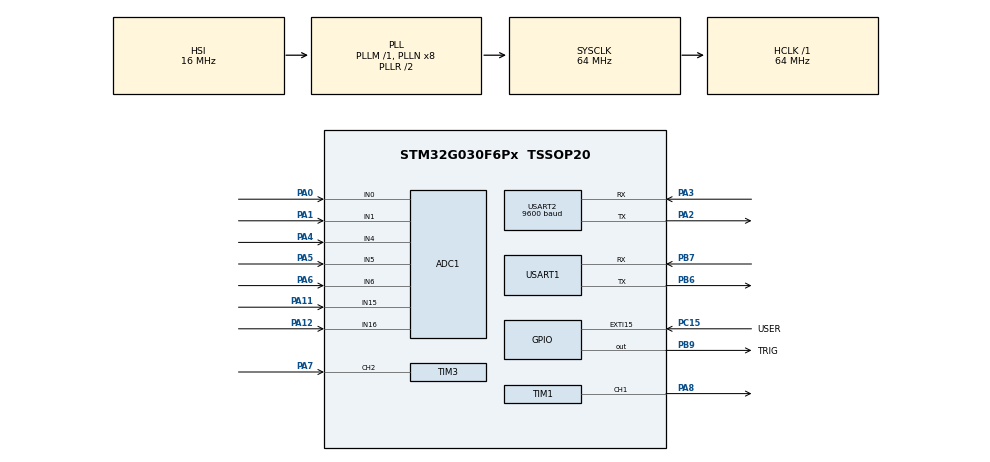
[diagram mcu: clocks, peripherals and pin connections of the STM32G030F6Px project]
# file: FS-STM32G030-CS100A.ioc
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ADC1.ClockPrescaler=ADC_CLOCK_ASYNC_DIV4
ADC1.ContinuousConvMode=ENABLE
ADC1.DMAContinuousRequests=ENABLE
ADC1.DiscontinuousConvMode=DISABLE
ADC1.LowPowerAutoPowerOff=ENABLE
ADC1.NbrOfConversion=1
ADC1.NbrOfConversionFlag=0
ADC1.SamplingTimeCommon1=ADC_SAMPLETIME_39CYCLES_5
ADC1.SelectedChannel=ADC_CHANNEL_0|ADC_CHANNEL_1|ADC_CHANNEL_4|ADC_CHANNEL_5|ADC_CHANNEL_6|ADC_CHANNEL_15|ADC_CHANNEL_16
ADC1.Sequencer=NOT_FULLY_CONFIGURABLE
ADC1.master=1
Dma.ADC1.0.Direction=DMA_PERIPH_TO_MEMORY
Dma.ADC1.0.EventEnable=DISABLE
Dma.ADC1.0.Instance=DMA1_Channel1
Dma.ADC1.0.MemDataAlignment=DMA_MDATAALIGN_HALFWORD
Dma.ADC1.0.MemInc=DMA_MINC_ENABLE
Dma.ADC1.0.Mode=DMA_CIRCULAR
Dma.ADC1.0.PeriphDataAlignment=DMA_PDATAALIGN_HALFWORD
Dma.ADC1.0.PeriphInc=DMA_PINC_DISABLE
Dma.ADC1.0.Polarity=HAL_DMAMUX_REQ_GEN_RISING
Dma.ADC1.0.Priority=DMA_PRIORITY_HIGH
Dma.ADC1.0.RequestNumber=1
Dma.ADC1.0.SignalID=NONE
Dma.ADC1.0.SyncEnable=DISABLE
Dma.ADC1.0.SyncPolarity=HAL_DMAMUX_SYNC_NO_EVENT
Dma.ADC1.0.SyncRequestNumber=1
Dma.ADC1.0.SyncSignalID=NONE
Dma.Request0=ADC1
Dma.Request1=TIM1_CH1
Dma.TIM1_CH1.1.Direction=DMA_MEMORY_TO_PERIPH
Dma.TIM1_CH1.1.EventEnable=DISABLE
Dma.TIM1_CH1.1.Instance=DMA1_Channel2
Dma.TIM1_CH1.1.MemDataAlignment=DMA_MDATAALIGN_WORD
Dma.TIM1_CH1.1.MemInc=DMA_MINC_ENABLE
Dma.TIM1_CH1.1.Mode=DMA_NORMAL
Dma.TIM1_CH1.1.PeriphDataAlignment=DMA_PDATAALIGN_WORD
Dma.TIM1_CH1.1.PeriphInc=DMA_PINC_DISABLE
Dma.TIM1_CH1.1.Polarity=HAL_DMAMUX_REQ_GEN_RISING
Dma.TIM1_CH1.1.Priority=DMA_PRIORITY_VERY_HIGH
Dma.TIM1_CH1.1.RequestNumber=1
Dma.TIM1_CH1.1.SignalID=NONE
Dma.TIM1_CH1.1.SyncEnable=DISABLE
Dma.TIM1_CH1.1.SyncPolarity=HAL_DMAMUX_SYNC_NO_EVENT
Dma.TIM1_CH1.1.SyncRequestNumber=1
Dma.TIM1_CH1.1.SyncSignalID=NONE
Mcu.Family=STM32G0
Mcu.Name=STM32G030F6Px
Mcu.Package=TSSOP20
NVIC.DMA1_Channel1_IRQn=true\:1\:0\:true\:false\:true\:false\:true\:true
NVIC.DMA1_Channel2_3_IRQn=true\:0\:0\:false\:false\:true\:false\:true\:true
NVIC.EXTI4_15_IRQn=true\:3\:0\:true\:false\:true\:true\:true\:true
NVIC.TIM16_IRQn=true\:3\:0\:true\:false\:true\:true\:true\:true
NVIC.TIM3_IRQn=true\:0\:0\:false\:false\:true\:true\:true\:true
NVIC.USART1_IRQn=true\:2\:0\:true\:false\:true\:true\:true\:true
NVIC.USART2_IRQn=true\:2\:0\:true\:false\:true\:true\:true\:true
PA0.Mode=IN0
PA0.Signal=ADC1_IN0
PA1.Mode=IN1
PA1.Signal=ADC1_IN1
PA11\ [PA9].Mode=IN15
PA11\ [PA9].Signal=ADC1_IN15
PA12\ [PA10].Mode=IN16
PA12\ [PA10].Signal=ADC1_IN16
PA13.Mode=Serial_Wire
PA13.Signal=SYS_SWDIO
PA14-BOOT0.Mode=Serial_Wire
PA14-BOOT0.Signal=SYS_SWCLK
PA14-BOOT0__PA15.StandardMode=true
PA2.Mode=Asynchronous
PA2.Signal=USART2_TX
PA3.Mode=Asynchronous
PA3.Signal=USART2_RX
PA4.Mode=IN4
PA4.Signal=ADC1_IN4
PA5.Mode=IN5
PA5.Signal=ADC1_IN5
PA6.Mode=IN6
PA6.Signal=ADC1_IN6
PA7.GPIO_PuPd=GPIO_PULLUP
PA7.GPIO_Speed=GPIO_SPEED_FREQ_VERY_HIGH
PA7.Signal=S_TIM3_CH2
PA8.GPIO_ModeDefaultPP=GPIO_MODE_AF_PP
PA8.GPIO_PuPd=GPIO_NOPULL
PA8.GPIO_Speed=GPIO_SPEED_FREQ_LOW
PA8.Signal=S_TIM1_CH1
PB0__PB1__PB2__PA8.StandardMode=true
PB3__PB4__PB5__PB6.StandardMode=true
PB6.Mode=Asynchronous
PB6.Signal=USART1_TX
PB7.Mode=Asynchronous
PB7.Signal=USART1_RX
PB7__PB8.StandardMode=true
PB9.GPIO_FM9=SYSCFG_FASTMODEPLUS_PB9
PB9.GPIO_Label=TRIG
PB9.GPIO_Speed=GPIO_SPEED_FREQ_HIGH
PB9.Signal=GPIO_Output
PC14-OSC32_IN\ (PC14)__PB9.StandardMode=true
PC15-OSC32_OUT\ (PC15).GPIO_Label=USER
PC15-OSC32_OUT\ (PC15).GPIO_ModeDefaultEXTI=GPIO_MODE_IT_FALLING
PC15-OSC32_OUT\ (PC15).GPIO_PuPd=GPIO_PULLUP
PC15-OSC32_OUT\ (PC15).Signal=GPXTI15
ProjectManager.HeapSize=0x200
ProjectManager.StackSize=0x400
ProjectManager.TargetToolchain=MDK-ARM V5.32
RCC.ADCFreq_Value=64000000
RCC.AHBFreq_Value=64000000
RCC.CortexFreq_Value=64000000
RCC.EXTERNAL_CLOCK_VALUE=12288000
RCC.HCLKFreq_Value=64000000
RCC.HSE_VALUE=8000000
RCC.HSI_VALUE=16000000
RCC.LSE_VALUE=32768
RCC.SYSCLKFreq_VALUE=64000000
RCC.SYSCLKSource=RCC_SYSCLKSOURCE_PLLCLK
RCC.VCOOutputFreq_Value=128000000
SH.S_TIM1_CH1.0=TIM1_CH1,PWM Generation1 CH1
SH.S_TIM3_CH2.0=TIM3_CH2,Input_Capture2_from_TI2
TIM1.AutoReloadPreload=TIM_AUTORELOAD_PRELOAD_ENABLE
TIM1.Channel-PWM\ Generation1\ CH1=TIM_CHANNEL_1
TIM1.OCFastMode_PWM-PWM\ Generation1\ CH1=TIM_OCFAST_DISABLE
TIM1.OCMode_PWM-PWM\ Generation1\ CH1=TIM_OCMODE_PWM1
TIM1.OCPolarity_1=TIM_OCPOLARITY_HIGH
TIM1.Period=80-1
TIM16.AutoReloadPreload=TIM_AUTORELOAD_PRELOAD_ENABLE
TIM16.Period=5000-1
TIM16.Prescaler=64-1
TIM3.AutoReloadPreload=TIM_AUTORELOAD_PRELOAD_ENABLE
TIM3.Channel-Input_Capture2_from_TI2=TIM_CHANNEL_2
TIM3.Prescaler=64-1
USART1.VirtualMode-Asynchronous=VM_ASYNC
USART2.BaudRate=9600
USART2.VirtualMode-Asynchronous=VM_ASYNC
VP_TIM16_VS_ClockSourceINT.Mode=Enable_Timer
VP_TIM1_VS_ClockSourceINT.Mode=Internal
VP_TIM3_VS_ClockSourceINT.Mode=Internal
board=custom

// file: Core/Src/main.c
/* USER CODE BEGIN Header */
/**
  ******************************************************************************
  * @file           : main.c
  * @brief          : Main program body
  ******************************************************************************
  * @attention
  *
  * Copyright (c) 2024 STMicroelectronics.
  * All rights reserved.
  *
  * This software is licensed under terms that can be found in the LICENSE file
  * in the root directory of this software component.
  * If no LICENSE file comes with this software, it is provided AS-IS.
  *
  ******************************************************************************
  */
/* USER CODE END Header */
#include "main.h"
#include "adc.h"
#include "dma.h"
#include "tim.h"
#include "usart.h"
#include "gpio.h"

/* USER CODE BEGIN Includes */
#include "user_app.h"		//用户应用程序

/* USER CODE END Includes */

/* USER CODE BEGIN PTD */
#define	ADC_CONVERTED_DATA_BUFFER_SIZE	7	//ADC通道总的数据长度

/* USER CODE END PTD */

/* USER CODE BEGIN PD */
/*********************************printf重定向*********************************/
//仅用于调试输出，连接语音时，禁用调试口
int fputc(int ch, FILE *f)
{
	uint8_t temp[1] = {ch};
	HAL_UART_Transmit(&huart1, temp, 1, 2);
	return ch;
}

/* USER CODE END PD */

/* USER CODE BEGIN PV */
static uint8_t gTaskIndex = 0x00;  //系统任务索引变量
volatile uint8_t gUserButtonCnt = 0;	//按键切换模式 (0:遥控, 1:避障, 2:巡线, 3:规划)
extern gTask_BitDef gTaskStateBit;  //任务执行过程中使用到的标志位
extern ADC_ValTypeDef gStruADC; //A/D通道实时采集的数据
extern TIM_ValTypeDef gStruTIM3; //超声波测距
/* USER CODE END PV */

void SystemClock_Config(void);

int main(void)
{

  /* MCU Configuration--------------------------------------------------------*/

  /* Reset of all peripherals, Initializes the Flash interface and the Systick. */
  HAL_Init();

  /* Configure the system clock */
  SystemClock_Config();

  /* Initialize all configured peripherals */
  MX_GPIO_Init();
  MX_DMA_Init();
  MX_ADC1_Init();
  MX_TIM16_Init();
  MX_USART1_UART_Init();
  MX_TIM1_Init();
  MX_TIM3_Init();
  MX_USART2_UART_Init();
  /* USER CODE BEGIN 2 */
	for(gTaskIndex = 0;gTaskIndex < OS_TASKLISTCNT;gTaskIndex++)	g_OSTaskList[gTaskIndex]=NULL;   //清空任务列表
	//进行ADC校准
	if (HAL_ADCEx_Calibration_Start(&hadc1)!= HAL_OK)	{Error_Handler();}

  // 开启串口2接收
  extern uint8_t gUART2RxData;
  __HAL_UART_CLEAR_FLAG(&huart2, UART_CLEAR_OREF);
  HAL_UART_Receive_IT(&huart2, &gUART2RxData, 1);
  /* USER CODE END 2 */

  /* Infinite loop */
  /* USER CODE BEGIN WHILE */
	HAL_TIM_Base_Start_IT(&htim16);//开启定时器16开启,设备控制任务开始
	//启动ADC组与DMA的常规转换
	if (HAL_ADC_Start_DMA(&hadc1,(uint32_t *)&gStruADC,ADC_CONVERTED_DATA_BUFFER_SIZE) != HAL_OK)	{Error_Handler();}
  while (1)
  {
    /* USER CODE END WHILE */

    /* USER CODE BEGIN 3 */
		for(gTaskIndex = 0;gTaskIndex < OS_TASKLISTCNT;gTaskIndex++)
		{
			if(g_OSTaskList[gTaskIndex] != NULL)
			{
				g_OSTaskList[gTaskIndex]();
				g_OSTaskList[gTaskIndex] = NULL;
			}
		}
  }
  /* USER CODE END 3 */
}

void SystemClock_Config(void)
{
  RCC_OscInitTypeDef RCC_OscInitStruct = {0};
  RCC_ClkInitTypeDef RCC_ClkInitStruct = {0};

  /** Configure the main internal regulator output voltage
  */
  HAL_PWREx_ControlVoltageScaling(PWR_REGULATOR_VOLTAGE_SCALE1);

  /** Initializes the RCC Oscillators according to the specified parameters
  * in the RCC_OscInitTypeDef structure.
  */
  RCC_OscInitStruct.OscillatorType = RCC_OSCILLATORTYPE_HSI;
  RCC_OscInitStruct.HSIState = RCC_HSI_ON;
  RCC_OscInitStruct.HSIDiv = RCC_HSI_DIV1;
  RCC_OscInitStruct.HSICalibrationValue = RCC_HSICALIBRATION_DEFAULT;
  RCC_OscInitStruct.PLL.PLLState = RCC_PLL_ON;
  RCC_OscInitStruct.PLL.PLLSource = RCC_PLLSOURCE_HSI;
  RCC_OscInitStruct.PLL.PLLM = RCC_PLLM_DIV1;
  RCC_OscInitStruct.PLL.PLLN = 8;
  RCC_OscInitStruct.PLL.PLLP = RCC_PLLP_DIV2;
  RCC_OscInitStruct.PLL.PLLR = RCC_PLLR_DIV2;
  if (HAL_RCC_OscConfig(&RCC_OscInitStruct) != HAL_OK)
  {
    Error_Handler();
  }

  /** Initializes the CPU, AHB and APB buses clocks
  */
  RCC_ClkInitStruct.ClockType = RCC_CLOCKTYPE_HCLK|RCC_CLOCKTYPE_SYSCLK
                              |RCC_CLOCKTYPE_PCLK1;
  RCC_ClkInitStruct.SYSCLKSource = RCC_SYSCLKSOURCE_PLLCLK;
  RCC_ClkInitStruct.AHBCLKDivider = RCC_SYSCLK_DIV1;
  RCC_ClkInitStruct.APB1CLKDivider = RCC_HCLK_DIV1;

  if (HAL_RCC_ClockConfig(&RCC_ClkInitStruct, FLASH_LATENCY_2) != HAL_OK)
  {
    Error_Handler();
  }
}

/* USER CODE BEGIN 4 */
//定时器16的任务分配
void HAL_TIM_PeriodElapsedCallback(TIM_HandleTypeDef *htim)
{
	static uint8_t p_Time16Cnt = 0;
	/***************************************************************************************/
	//定时器16进行5ms任务中断
	if (htim->Instance == htim16.Instance)
	{
		p_Time16Cnt++;
		//光电管巡线
		if(!(p_Time16Cnt % 4))  //20ms(50Hz)进行触发刷新
		{
			g_OSTaskList[eTask_Phototube] = Phototube_Task; 	//更新巡线任务
		}
		//超声波测距任务
		if(!(p_Time16Cnt % 10))  //50ms(20Hz)进行触发刷新
		{
			g_OSTaskList[eTask_Ultrasonic] = Ultrasonic_Task; 	//更新测距任务
		}
		//空闲任务，RGB显示
		if(!(p_Time16Cnt % 15))  //75ms(13Hz)进行触发刷新
		{
			g_OSTaskList[eTask_Idle] = IDLE_Task; 	//更新空闲任务
		}
		//串口2输出信息100ms
		if(!(p_Time16Cnt % 20))  //100ms(10Hz)进行触发刷新
		{
			g_OSTaskList[eTask_SerialOut] = SerialOut_Task; 	//更新串口2输出
		}
		//1000ms运行一次，系统运行指示灯
		if(!(p_Time16Cnt % 200))
		{
			p_Time16Cnt = 0;
		}
    // 转向灯任务 50ms 刷新一次
    if(!(p_Time16Cnt % 10))
    {
      g_OSTaskList[eTask_TurnSignal] = TurnSignal_Task;
    }
	}
	/***************************************************************************************/
	//定时器3的溢出中断
	if(htim == &htim3)
	{
		if(gStruTIM3.TIM3_CH2_Edge == 1)
		{
			gStruTIM3.TIM3_CH2_OVER++;  //定时器溢出值增加
		}
	}
	/***************************************************************************************/
  /* Prevent unused argument(s) compilation warning */
  UNUSED(htim);
}
//定时器3通道2捕获输入
void HAL_TIM_IC_CaptureCallback(TIM_HandleTypeDef *htim)
{
	if(htim == &htim3)
	{
		if(gStruTIM3.TIM3_CH2_Edge == 0) //捕获到上升沿
		{
			gStruTIM3.TIM3_CH2_Edge = 1;  //进入捕获下降沿状态
			gStruTIM3.TIM3_CH2_OVER = 0;  //定时器溢出值清零
			__HAL_TIM_SET_CAPTUREPOLARITY(&htim3,TIM_CHANNEL_2,TIM_ICPOLARITY_FALLING); //设置捕获极性为下降沿
			__HAL_TIM_SET_COUNTER(&htim3,0);  //设置定时器CNT计数器的值为0
		}
		else  //捕获到下升沿
		{
			HAL_TIM_IC_Stop_IT(&htim3,TIM_CHANNEL_2); //关闭定时器3
			gStruTIM3.TIM3_CH2_Edge = 2;  //大循环处理数据，并重新开始测量
			gStruTIM3.TIM3_CH2_VAL = HAL_TIM_ReadCapturedValue(&htim3,TIM_CHANNEL_2); //读取捕获通道的值
			__HAL_TIM_SET_CAPTUREPOLARITY(&htim3,TIM_CHANNEL_2,TIM_ICPOLARITY_RISING); //设置捕获极性为上降沿
		}
	}
}
//中断回调函数,在设定的PWM通过DMA发送完成后会调用
void HAL_TIM_PWM_PulseFinishedCallback(TIM_HandleTypeDef* htim)
{
  /*
  在DMA中断函数中关闭DMA输出便不会产生杂波,解决灯带的第一颗
	灯珠突然闪绿色以及等待亮度突然爆闪一下
  */
  if(htim->Instance == TIM1)
	{
    if(htim->Channel == HAL_TIM_ACTIVE_CHANNEL_1)
		{
      HAL_TIM_PWM_Stop_DMA(&htim1, TIM_CHANNEL_1);
    }
  }
}
//EXTI4_15_IRQ下升沿中断
void HAL_GPIO_EXTI_Falling_Callback(uint16_t GPIO_Pin)
{
  /* Prevent unused argument(s) compilation warning */
  UNUSED(GPIO_Pin);
	//判断按键是否按下
  if(HAL_GPIO_ReadPin(GPIOC,GPIO_PIN_15) == GPIO_PIN_RESET)
  {
		gUserButtonCnt++;		//记录按键按下次数
  }
}
/**
  * @brief  Conversion complete callback in non blocking mode
  * @param  hadc: ADC handle
  * @note   This example shows a simple way to report end of conversion
  *         and get conversion result. You can add your own implementation.
  * @retval None
  */
void HAL_ADC_ConvCpltCallback(ADC_HandleTypeDef *hadc)
{
  //更新DMA传输状态标志
  gTaskStateBit.ADCC = 1;
}
/* USER CODE END 4 */

void Error_Handler(void)
{
  __disable_irq();
  while (1)
  {
  }
}
